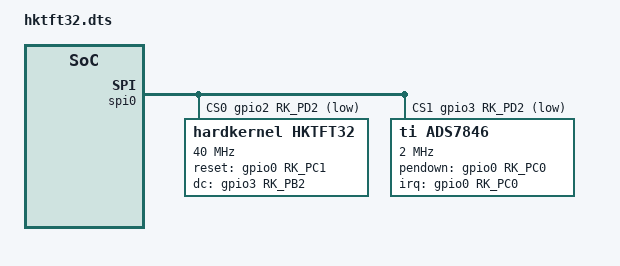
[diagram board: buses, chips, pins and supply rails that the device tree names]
/dts-v1/;
/plugin/;

#include <dt-bindings/gpio/gpio.h>
#include <dt-bindings/pinctrl/rockchip.h>

/{
	fragment@0 {
		target = <&spi0>;

		__overlay__ {
			status = "okay";

			num_chipselect = <2>;
			cs-gpios = <&gpio2 RK_PD2 GPIO_ACTIVE_LOW>,
			           <&gpio3 RK_PD2 GPIO_ACTIVE_LOW>;

			#address-cells = <1>;
			#size-cells = <0>;

			hktft32: hktft32@0 {
				status = "okay";
				compatible = "hardkernel,hktft32";
				reg = <0>;
				spi-max-frequency = <40000000>;
				rotation = <90>;
				reset-gpios = <&gpio0 RK_PC1 GPIO_ACTIVE_HIGH>;
				dc-gpios = <&gpio3 RK_PB2 GPIO_ACTIVE_HIGH>;
			};

			ads7846: ads7846@1 {
				status = "okay";
				compatible = "ti,ads7846";

				spi-max-frequency = <2000000>;
				reg = <1>;

				interrupt-parent = <&gpio0>;
				interrupts = <RK_PC0 0>;
				pendown-gpio = <&gpio0 RK_PC0 GPIO_ACTIVE_HIGH>;

				ti,swap-xy = <1>;
				ti,x-min = /bits/ 16 <0>;
				ti,x-max = /bits/ 16 <8000>;
				ti,y-min = /bits/ 16 <0>;
				ti,y-max = /bits/ 16 <4800>;
				ti,x-plate-ohms = /bits/ 16 <40>;
				ti,pressure-max = /bits/ 16 <255>;

				linux,wakeup;
			};
		};
	};
};
